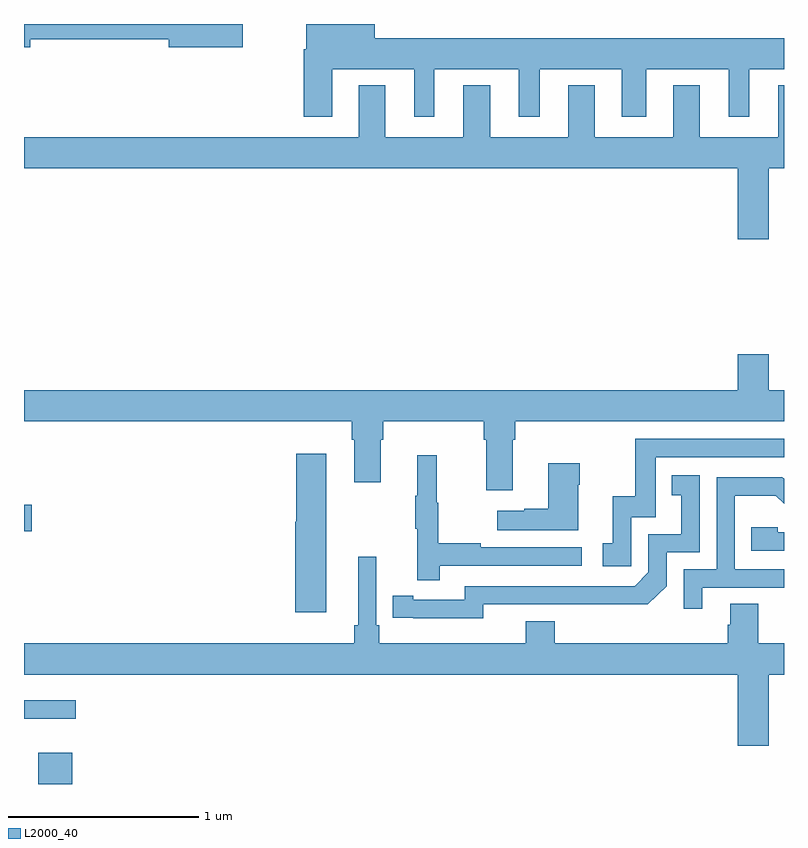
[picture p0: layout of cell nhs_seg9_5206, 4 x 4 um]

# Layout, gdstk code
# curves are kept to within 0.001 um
import gdstk
lib = gdstk.Library(unit=1e-6, precision=1e-09)
def R(c, l, rs):  # rectangles x0, y0, x1, y1
    for r in rs: c.add(gdstk.rectangle(r[:2], r[2:], *l))
def P(c, l, *ps):  # polygons
    for p in ps: c.add(gdstk.Polygon(p, *l))
L2000_40 = (2000, 40)

nhs_seg9_5206 = lib.new_cell('nhs_seg9_5206')
R(nhs_seg9_5206, L2000_40, [(413.075,1206.5,413.254,1206.664), (413,1206.843,413.272,1206.94), (413,1207.829,413.041,1207.971)])
P(nhs_seg9_5206, L2000_40, [(414.622,1210.262),(415.055,1210.262),(415.055,1210.011),(415.159,1210.011),(415.159,1210.262),(415.604,1210.262),(415.604,1210.011),(415.714,1210.011),(415.714,1210.262),(416.147,1210.262),(416.147,1210.011),(416.275,1210.011),(416.275,1210.262),(416.708,1210.262),(416.708,1210.011),(416.818,1210.011),(416.818,1210.262),(417,1210.262),(417,1210.426),(414.847,1210.426),(414.847,1210.5),(414.485,1210.5),(414.485,1210.366),(414.473,1210.366),(414.473,1210.011),(414.622,1210.011)],
  [(413.032,1210.42),(413.762,1210.42),(413.762,1210.378),(414.151,1210.378),(414.151,1210.5),(413,1210.5),(413,1210.378),(413.032,1210.378)],
  [(416.92,1209.74),(417,1209.74),(417,1210.177),(416.969,1210.177),(416.969,1209.904),(416.557,1209.904),(416.557,1210.177),(416.417,1210.177),(416.417,1209.904),(416.005,1209.904),(416.005,1210.177),(415.865,1210.177),(415.865,1209.904),(415.453,1209.904),(415.453,1210.177),(415.313,1210.177),(415.313,1209.904),(414.901,1209.904),(414.901,1210.177),(414.761,1210.177),(414.761,1209.904),(413,1209.904),(413,1209.74),(416.756,1209.74),(416.756,1209.366),(416.92,1209.366)],
  [(413,1208.408),(414.725,1208.408),(414.725,1208.312),(414.737,1208.312),(414.737,1208.088),(414.877,1208.088),(414.877,1208.312),(414.89,1208.312),(414.89,1208.408),(415.421,1208.408),(415.421,1208.312),(415.433,1208.312),(415.433,1208.046),(415.573,1208.046),(415.573,1208.312),(415.586,1208.312),(415.586,1208.408),(417,1208.408),(417,1208.572),(416.92,1208.572),(416.92,1208.761),(416.756,1208.761),(416.756,1208.572),(413,1208.572)],
  [(416.196,1207.905),(416.325,1207.905),(416.325,1208.22),(417,1208.22),(417,1208.316),(416.217,1208.316),(416.217,1208.014),(416.099,1208.014),(416.099,1207.767),(416.046,1207.767),(416.046,1207.647),(416.196,1207.647)],
  [(414.592,1208.239),(414.434,1208.239),(414.434,1207.881),(414.428,1207.881),(414.428,1207.404),(414.592,1207.404)],
  [(415.187,1207.65),(415.936,1207.65),(415.936,1207.746),(415.403,1207.746),(415.403,1207.766),(415.18,1207.766),(415.18,1207.98),(415.172,1207.98),(415.172,1208.23),(415.07,1208.23),(415.07,1208.017),(415.059,1208.017),(415.059,1207.843),(415.07,1207.843),(415.07,1207.572),(415.187,1207.572)],
  [(415.918,1208.075),(415.926,1208.075),(415.926,1208.188),(415.76,1208.188),(415.76,1207.949),(415.634,1207.949),(415.634,1207.939),(415.491,1207.939),(415.491,1207.835),(415.918,1207.835)],
  [(415.416,1207.446),(416.284,1207.445),(416.382,1207.542),(416.382,1207.719),(416.556,1207.719),(416.556,1208.125),(416.41,1208.125),(416.41,1208.019),(416.459,1208.019),(416.459,1207.815),(416.286,1207.815),(416.286,1207.614),(416.214,1207.542),(415.32,1207.542),(415.32,1207.47),(415.048,1207.47),(415.048,1207.49),(414.94,1207.49),(414.94,1207.374),(415.416,1207.373)],
  [(416.569,1207.533),(417,1207.533),(417,1207.629),(416.742,1207.629),(416.742,1208.018),(416.956,1208.018),(417,1207.974),(417,1208.107),(416.992,1208.115),(416.646,1208.115),(416.646,1207.629),(416.472,1207.629),(416.472,1207.422),(416.569,1207.422)],
  [(417,1207.824),(416.967,1207.824),(416.967,1207.851),(416.827,1207.851),(416.827,1207.728),(417,1207.728)],
  [(416.92,1207.076),(417,1207.076),(417,1207.24),(416.865,1207.24),(416.865,1207.448),(416.717,1207.448),(416.717,1207.338),(416.705,1207.338),(416.705,1207.24),(415.793,1207.24),(415.793,1207.357),(415.64,1207.357),(415.64,1207.24),(414.869,1207.24),(414.869,1207.336),(414.855,1207.336),(414.855,1207.696),(414.758,1207.696),(414.758,1207.336),(414.739,1207.336),(414.739,1207.24),(413,1207.24),(413,1207.076),(416.756,1207.076),(416.756,1206.702),(416.92,1206.702)])

lib.write_gds('nhs_seg9_5206.gds')
